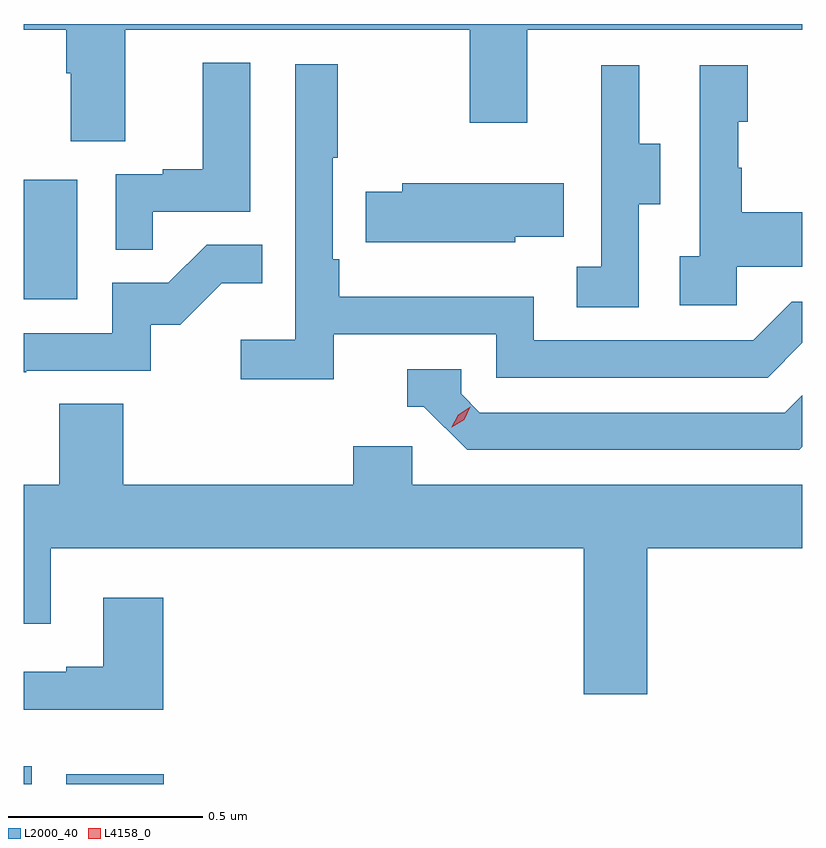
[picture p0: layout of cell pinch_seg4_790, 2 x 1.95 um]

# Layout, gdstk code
import gdstk
lib = gdstk.Library(unit=1e-6, precision=1e-09)
def R(c, l, rs):  # rectangles x0, y0, x1, y1
    for r in rs: c.add(gdstk.rectangle(r[:2], r[2:], *l))
def P(c, l, *ps):  # polygons
    for p in ps: c.add(gdstk.Polygon(p, *l))
L2000_40 = (2000, 40)
L4158_0 = (4158, 0)

pinch_seg4_790 = lib.new_cell('pinch_seg4_790')
R(pinch_seg4_790, L2000_40, [(822.91,830.847,822.931,830.893), (823.019,830.847,823.27,830.872), (822.91,832.092,823.048,832.399)])
P(pinch_seg4_790, L2000_40, [(822.91,832.784),(823.019,832.784),(823.019,832.672),(823.031,832.672),(823.031,832.498),(823.171,832.498),(823.171,832.784),(824.056,832.784),(824.056,832.545),(824.203,832.545),(824.203,832.784),(824.91,832.784),(824.91,832.799),(822.91,832.799)],
  [(823.241,832.317),(823.492,832.317),(823.492,832.699),(823.37,832.699),(823.37,832.426),(823.267,832.426),(823.267,832.413),(823.146,832.413),(823.146,832.219),(823.241,832.219)],
  [(823.706,832.002),(824.124,832.002),(824.124,831.891),(824.821,831.891),(824.91,831.98),(824.91,832.086),(824.883,832.086),(824.784,831.987),(824.22,831.987),(824.22,832.099),(823.721,832.099),(823.721,832.195),(823.704,832.195),(823.704,832.456),(823.717,832.456),(823.717,832.696),(823.608,832.696),(823.608,831.988),(823.467,831.988),(823.467,831.886),(823.706,831.886)],
  [(824.49,832.336),(824.545,832.336),(824.545,832.491),(824.491,832.491),(824.491,832.693),(824.393,832.693),(824.393,832.479),(824.394,832.479),(824.394,832.175),(824.331,832.175),(824.331,832.072),(824.49,832.072)],
  [(824.742,832.175),(824.91,832.175),(824.91,832.315),(824.755,832.315),(824.755,832.43),(824.745,832.43),(824.745,832.548),(824.77,832.548),(824.77,832.693),(824.646,832.693),(824.646,832.202),(824.595,832.202),(824.595,832.077),(824.742,832.077)],
  [(824.172,832.253),(824.297,832.253),(824.297,832.39),(823.883,832.39),(823.883,832.368),(823.789,832.368),(823.789,832.239),(823.9,832.239),(823.9,832.238),(824.172,832.238)],
  [(822.917,831.909),(823.236,831.909),(823.236,832.026),(823.312,832.026),(823.419,832.133),(823.523,832.133),(823.523,832.232),(823.38,832.232),(823.282,832.134),(823.137,832.134),(823.137,832.005),(822.91,832.005),(822.91,831.904),(822.917,831.904)],
  [(824.91,831.713),(824.91,831.846),(824.865,831.801),(824.082,831.801),(824.034,831.849),(824.034,831.912),(823.895,831.912),(823.895,831.816),(823.938,831.816),(824.049,831.705),(824.902,831.705)],
  [(824.512,831.452),(824.91,831.452),(824.91,831.616),(823.908,831.616),(823.908,831.714),(823.757,831.714),(823.757,831.616),(823.166,831.616),(823.166,831.824),(823.001,831.824),(823.001,831.616),(822.91,831.616),(822.91,831.258),(822.979,831.258),(822.979,831.452),(824.348,831.452),(824.348,831.078),(824.512,831.078)],
  [(823.268,831.325),(823.115,831.325),(823.115,831.148),(823.019,831.148),(823.019,831.135),(822.91,831.135),(822.91,831.038),(823.268,831.038)])
P(pinch_seg4_790, L4158_0, [(824.01,831.763),(824.01,831.764),(824.026,831.796),(824.057,831.816),(824.057,831.816),(824.057,831.816),(824.041,831.783),(824.01,831.763)])

lib.write_gds('pinch_seg4_790.gds')
